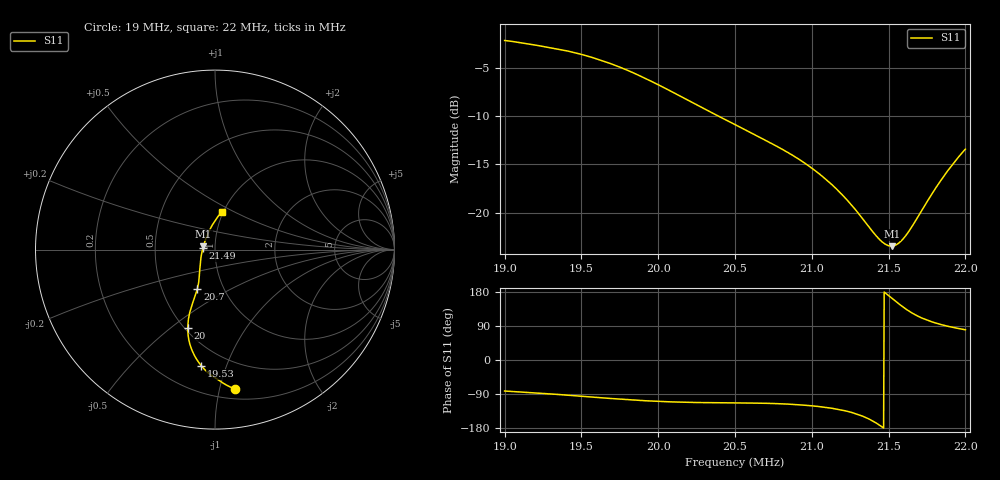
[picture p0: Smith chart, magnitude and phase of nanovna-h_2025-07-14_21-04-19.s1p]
! NanoVNA-App by OneOfEleven et al v1.1.209 (+OD18)
! Date: 2025-07-14 21:04:21
! Start: 19MHz Stop: 22MHz Points: 801
! S-Parameter data: F S11
# Hz S RI R 50
!  Frequency  S11_Real  S11_Imag
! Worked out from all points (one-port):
!   801 points, 19 MHz to 22 MHz, reference 50 ohm
!   lowest |S11| = -23.5 dB at 21.52 MHz (marker M1), VSWR 1.14, Z = 43.9 + j1.66 ohm
!   |S11| at or under -10 dB: 20.39 MHz to end of sweep
!   S11 on the Smith chart (normalised r, x): 19 MHz: 0.28, -1.12; 19.53 MHz: 0.36, -0.82; 20 MHz: 0.52, -0.58; 20.7 MHz: 0.75, -0.35; 21.49 MHz: 0.87, +0.02; 22 MHz: 0.98, +0.43
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1.9e7  0.1114 -0.7752
1.918e7  0.046 -0.7444
1.9375e7  -0.0223 -0.6995
1.95325e7  -0.076 -0.6476
1.9645e7  -0.1078 -0.6018
1.975e7  -0.131 -0.5539
1.98775e7  -0.1476 -0.4927
1.99975e7  -0.1517 -0.4366
2.0125e7  -0.1472 -0.3823
2.02975e7  -0.1321 -0.3202
2.05e7  -0.1129 -0.2632
2.0695e7  -0.0978 -0.2168
2.0875e7  -0.0903 -0.1765
2.097625e7  -0.0879 -0.152
2.10775e7  -0.0858 -0.1256
2.116375e7  -0.0841 -0.1014
2.125e7  -0.0819 -0.0754
2.142625e7  -0.0731 -0.0155
2.146e7  -0.07 -0.00314
2.149375e7  -0.0668 0.00908
2.152e7  -0.0642 0.0188
2.15425e7  -0.0618 0.0272
2.156875e7  -0.0588 0.0373
2.1625e7  -0.0515 0.0591
2.17825e7  -0.0229 0.1229
2.184625e7  -0.00765 0.1489
2.193625e7  0.0174 0.1852
2.2e7  0.0379 0.21
